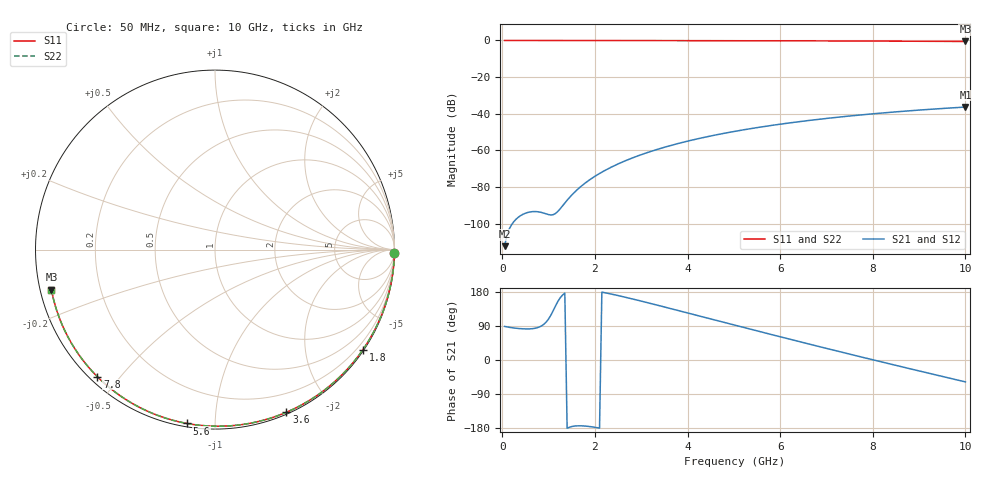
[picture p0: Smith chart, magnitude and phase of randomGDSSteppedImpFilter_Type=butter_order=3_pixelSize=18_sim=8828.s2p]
! freq	dB(S11)	phase(S11)	dB(S12)	phase(S12)
!  dB(S21)	phase(S21)	dB(S22)	phase(S22)
!S-par simulation data
#  GHz  S  DB  R 50
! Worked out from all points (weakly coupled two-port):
!   200 points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, 50 MHz to 10 GHz, reference 50 ohm
!   highest |S21| = -36.32 dB at 10 GHz (marker M1); lowest = -112.2 dB at 50 MHz (marker M2)
!   lowest |S11| = -0.6 dB at 10 GHz (marker M3), VSWR 31.42, Z = 1.61 - j6.02 ohm
!   |S11| at or under -10 dB: nowhere
!   |S22| runs from -0.6 to 0.0 dB; largest |S21 - S12| = 0
!   S11 on the Smith chart (normalised r, x): 50 MHz: open; 1.8 GHz: 0.03, -3.26; 3.6 GHz: 0.02, -1.53; 5.6 GHz: 0.02, -0.85; 7.8 GHz: 0.02, -0.44; 10 GHz: 0.03, -0.12
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0.05  -0.00 -1.0  -112.18 88.7  -112.18 88.7  -0.00 -1.0
0.45  -0.01 -8.7  -94.75 82.2  -94.75 82.2  -0.01 -8.7
0.85  -0.02 -16.3  -93.81 90.2  -93.81 90.2  -0.02 -16.3
1.65  -0.04 -31.3  -80.66 -173.6  -80.66 -173.6  -0.04 -31.3
1.7  -0.04 -32.3  -79.57 -173.7  -79.57 -173.7  -0.04 -32.3
1.75  -0.04 -33.2  -78.54 -174.0  -78.54 -174.0  -0.04 -33.2
1.8  -0.04 -34.1  -77.57 -174.4  -77.57 -174.4  -0.04 -34.1
2.1  -0.05 -39.6  -72.54 -179.7  -72.54 -179.7  -0.05 -39.6
2.3  -0.06 -43.3  -69.77 175.4  -69.77 175.4  -0.06 -43.3
2.5  -0.06 -46.9  -67.34 170.1  -67.34 170.1  -0.06 -46.9
2.9  -0.07 -54.1  -63.20 158.4  -63.20 158.4  -0.07 -54.1
3.4  -0.08 -62.8  -58.99 143.1  -58.99 143.1  -0.08 -62.8
3.6  -0.09 -66.3  -57.53 136.8  -57.53 136.8  -0.09 -66.3
4.3  -0.11 -78.1  -53.17 114.7  -53.17 114.7  -0.11 -78.1
5.05  -0.14 -90.4  -49.43 91.0  -49.43 91.0  -0.14 -90.4
5.6  -0.16 -99.2  -47.14 73.8  -47.14 73.8  -0.16 -99.2
6.15  -0.19 -107.8  -45.14 56.7  -45.14 56.7  -0.19 -107.8
6.7  -0.23 -116.2  -43.39 39.8  -43.39 39.8  -0.23 -116.2
7.8  -0.31 -132.8  -40.47 6.5  -40.47 6.5  -0.31 -132.8
8.35  -0.36 -141.1  -39.24 -9.8  -39.24 -9.8  -0.36 -141.1
9.2  -0.45 -153.9  -37.60 -34.7  -37.60 -34.7  -0.45 -153.9
10  -0.55 -166.2  -36.32 -57.8  -36.32 -57.8  -0.55 -166.2
